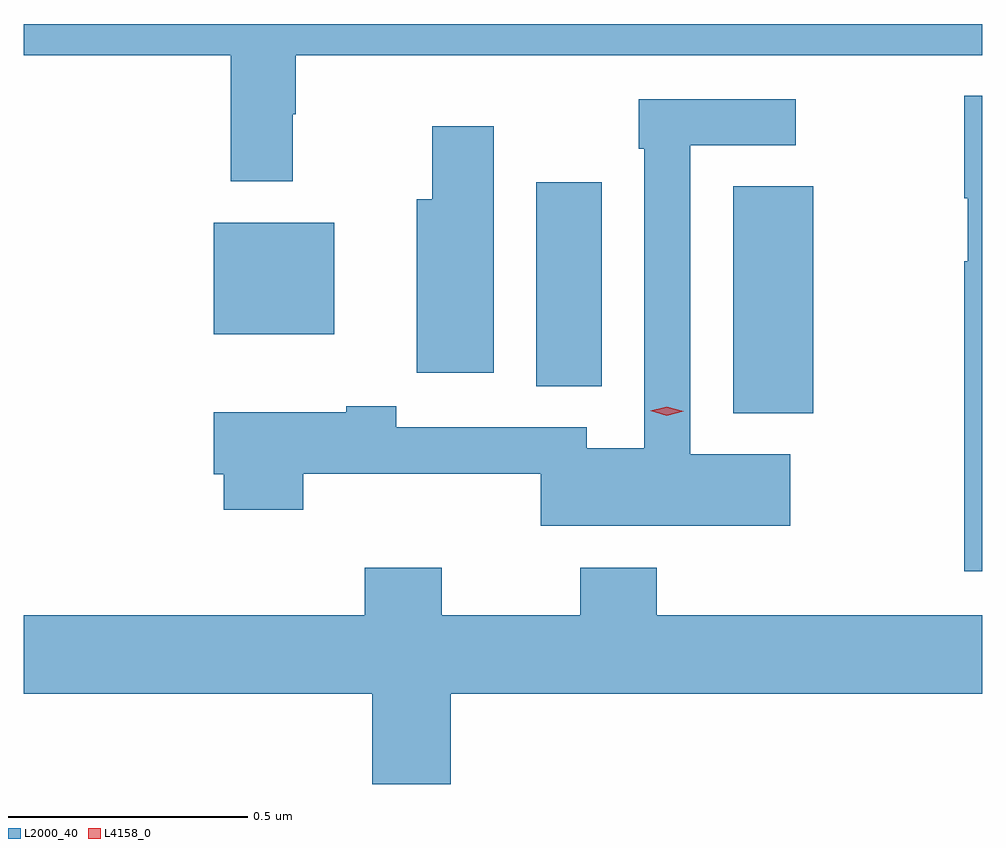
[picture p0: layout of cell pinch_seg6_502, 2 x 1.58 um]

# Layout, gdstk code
import gdstk
lib = gdstk.Library(unit=1e-6, precision=1e-09)
def R(c, l, rs):  # rectangles x0, y0, x1, y1
    for r in rs: c.add(gdstk.rectangle(r[:2], r[2:], *l))
def P(c, l, *ps):  # polygons
    for p in ps: c.add(gdstk.Polygon(p, *l))
L2000_40 = (2000, 40)
L4158_0 = (4158, 0)

pinch_seg6_502 = lib.new_cell('pinch_seg6_502')
R(pinch_seg6_502, L2000_40, [(885.041,947.921,885.208,948.395), (884.63,947.977,884.767,948.403), (883.958,948.086,884.209,948.319)])
P(pinch_seg6_502, L2000_40, [(884.122,948.545),(884.129,948.545),(884.129,948.668),(885.561,948.668),(885.561,948.733),(883.561,948.733),(883.561,948.668),(883.993,948.668),(883.993,948.405),(884.122,948.405)],
  [(885.561,948.583),(885.523,948.583),(885.523,948.37),(885.53,948.37),(885.53,948.238),(885.523,948.238),(885.523,947.592),(885.561,947.592)],
  [(885.16,947.836),(884.952,947.836),(884.952,948.48),(885.172,948.48),(885.172,948.576),(884.844,948.576),(884.844,948.473),(884.856,948.473),(884.856,947.848),(884.736,947.848),(884.736,947.892),(884.338,947.892),(884.338,947.936),(884.234,947.936),(884.234,947.923),(883.958,947.923),(883.958,947.794),(883.979,947.794),(883.979,947.72),(884.144,947.72),(884.144,947.795),(884.64,947.795),(884.64,947.687),(885.16,947.687)],
  [(884.542,948.52),(884.413,948.52),(884.413,948.367),(884.381,948.367),(884.381,948.006),(884.542,948.006)],
  [(884.452,947.336),(885.561,947.336),(885.561,947.5),(884.882,947.5),(884.882,947.599),(884.722,947.599),(884.722,947.5),(884.433,947.5),(884.433,947.599),(884.273,947.599),(884.273,947.5),(883.561,947.5),(883.561,947.336),(884.288,947.336),(884.288,947.148),(884.452,947.148)])
P(pinch_seg6_502, L4158_0, [(884.903,947.916),(884.868,947.926),(884.868,947.926),(884.868,947.926),(884.903,947.935),(884.938,947.925),(884.938,947.925),(884.938,947.925)])

lib.write_gds('pinch_seg6_502.gds')
